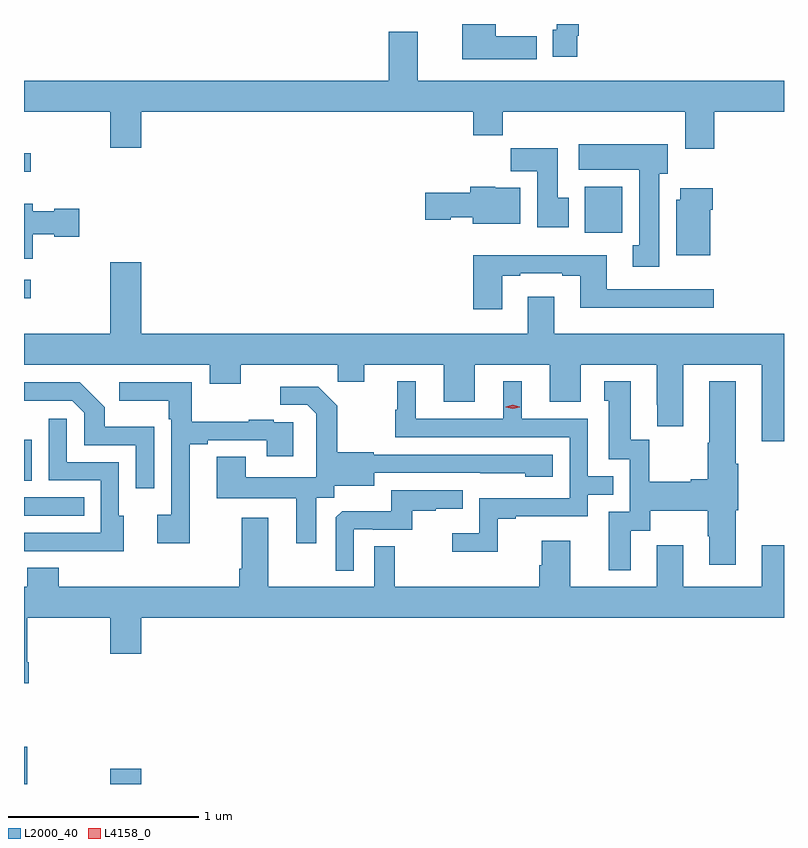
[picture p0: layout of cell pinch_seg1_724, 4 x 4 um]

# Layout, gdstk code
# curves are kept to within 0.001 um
import gdstk
lib = gdstk.Library(unit=1e-6, precision=1e-09)
def R(c, l, rs):  # rectangles x0, y0, x1, y1
    for r in rs: c.add(gdstk.rectangle(r[:2], r[2:], *l))
def P(c, l, *ps):  # polygons
    for p in ps: c.add(gdstk.Polygon(p, *l))
L2000_40 = (2000, 40)
L4158_0 = (4158, 0)

pinch_seg1_724 = lib.new_cell('pinch_seg1_724')
R(pinch_seg1_724, L2000_40, [(644.075,517.558,644.092,517.753), (644.528,517.558,644.692,517.639), (644.075,518.97,644.393,519.066), (644.075,519.155,644.116,519.37), (644.075,520.115,644.11,520.212), (647.027,520.46,647.224,520.702), (644.075,520.781,644.11,520.878)])
P(pinch_seg1_724, L2000_40, [(646.774,521.494),(646.558,521.494),(646.558,521.558),(646.382,521.558),(646.382,521.372),(646.774,521.372)],
  [(646.987,521.497),(646.994,521.497),(646.994,521.558),(646.878,521.558),(646.878,521.529),(646.859,521.529),(646.859,521.385),(646.987,521.385)],
  [(646.147,521.518),(645.995,521.518),(645.995,521.26),(644.075,521.26),(644.075,521.096),(644.528,521.096),(644.528,520.908),(644.692,520.908),(644.692,521.096),(646.439,521.096),(646.439,520.972),(646.595,520.972),(646.595,521.096),(647.555,521.096),(647.555,520.902),(647.708,520.902),(647.708,521.096),(648.075,521.096),(648.075,521.26),(646.147,521.26)],
  [(647.419,520.77),(647.464,520.77),(647.464,520.924),(646.995,520.924),(646.995,520.79),(647.312,520.79),(647.312,520.394),(647.279,520.394),(647.279,520.281),(647.419,520.281)],
  [(646.942,520.644),(646.885,520.644),(646.885,520.903),(646.636,520.903),(646.636,520.784),(646.775,520.784),(646.775,520.488),(646.942,520.488)],
  [(646.687,520.696),(646.554,520.696),(646.554,520.702),(646.424,520.702),(646.424,520.671),(646.188,520.671),(646.188,520.529),(646.32,520.529),(646.32,520.541),(646.436,520.541),(646.436,520.508),(646.687,520.508)],
  [(647.686,520.58),(647.699,520.58),(647.699,520.693),(647.528,520.693),(647.528,520.632),(647.507,520.632),(647.507,520.34),(647.686,520.34)],
  [(644.122,520.451),(644.235,520.451),(644.235,520.439),(644.365,520.439),(644.365,520.586),(644.235,520.586),(644.235,520.573),(644.122,520.573),(644.122,520.612),(644.075,520.612),(644.075,520.322),(644.122,520.322)],
  [(646.591,520.233),(646.687,520.233),(646.687,520.245),(646.907,520.245),(646.907,520.233),(647.003,520.233),(647.003,520.064),(647.704,520.064),(647.704,520.161),(647.143,520.161),(647.143,520.342),(646.439,520.342),(646.439,520.056),(646.591,520.056)],
  [(648.075,519.928),(646.867,519.928),(646.867,520.123),(646.727,520.123),(646.727,519.928),(644.692,519.928),(644.692,520.303),(644.528,520.303),(644.528,519.928),(644.075,519.928),(644.075,519.764),(645.053,519.764),(645.053,519.665),(645.217,519.665),(645.217,519.764),(645.727,519.764),(645.727,519.674),(645.865,519.674),(645.865,519.764),(646.283,519.764),(646.283,519.57),(646.447,519.57),(646.447,519.764),(646.841,519.764),(646.841,519.57),(647.005,519.57),(647.005,519.764),(647.405,519.764),(647.405,519.553),(647.408,519.553),(647.408,519.441),(647.545,519.441),(647.545,519.764),(647.957,519.764),(647.957,519.363),(648.075,519.363)],
  [(647.269,518.89),(647.371,518.89),(647.371,518.996),(647.674,518.996),(647.674,518.862),(647.681,518.862),(647.681,518.712),(647.821,518.712),(647.821,519),(647.834,519),(647.834,519.244),(647.821,519.244),(647.821,519.679),(647.681,519.679),(647.681,519.353),(647.674,519.353),(647.674,519.161),(647.585,519.161),(647.585,519.148),(647.367,519.148),(647.367,519.371),(647.269,519.371),(647.269,519.679),(647.129,519.679),(647.129,519.576),(647.153,519.576),(647.153,519.267),(647.262,519.267),(647.262,518.991),(647.153,518.991),(647.153,518.682),(647.269,518.682)],
  [(646.569,518.955),(646.663,518.955),(646.663,518.967),(647.043,518.967),(647.043,519.081),(647.177,519.081),(647.177,519.177),(647.043,519.177),(647.043,519.48),(646.696,519.48),(646.696,519.679),(646.598,519.679),(646.598,519.48),(646.138,519.48),(646.138,519.679),(646.04,519.679),(646.04,519.528),(646.029,519.528),(646.029,519.384),(646.947,519.384),(646.947,519.063),(646.47,519.063),(646.47,518.878),(646.329,518.878),(646.329,518.78),(646.569,518.78)],
  [(644.76,519.439),(644.499,519.439),(644.499,519.542),(644.368,519.672),(644.075,519.672),(644.075,519.575),(644.328,519.576),(644.391,519.513),(644.391,519.342),(644.664,519.342),(644.664,519.114),(644.76,519.114)],
  [(644.947,519.347),(645.043,519.347),(645.043,519.366),(645.353,519.366),(645.353,519.282),(645.493,519.282),(645.493,519.462),(645.389,519.462),(645.389,519.475),(645.257,519.475),(645.257,519.464),(644.959,519.464),(644.959,519.672),(644.577,519.672),(644.577,519.575),(644.838,519.575),(644.838,519.479),(644.85,519.479),(644.85,518.974),(644.775,518.974),(644.775,518.826),(644.947,518.826)],
  [(645.613,519.064),(645.708,519.064),(645.708,519.128),(645.919,519.128),(645.919,519.195),(646.713,519.194),(646.713,519.176),(646.858,519.176),(646.858,519.291),(645.915,519.291),(645.915,519.304),(645.723,519.304),(645.723,519.549),(645.623,519.649),(645.423,519.649),(645.423,519.555),(645.567,519.555),(645.614,519.508),(645.614,519.413),(645.612,519.413),(645.612,519.172),(645.241,519.172),(645.241,519.281),(645.089,519.281),(645.089,519.062),(645.509,519.062),(645.509,518.826),(645.613,518.826)],
  [(644.599,518.97),(644.574,518.97),(644.574,519.252),(644.301,519.252),(644.301,519.481),(644.205,519.481),(644.205,519.156),(644.478,519.156),(644.478,518.88),(644.075,518.88),(644.075,518.784),(644.381,518.784),(644.381,518.783),(644.599,518.783)],
  [(645.81,518.898),(645.91,518.898),(645.91,518.895),(646.118,518.895),(646.118,518.996),(646.241,518.996),(646.241,519.008),(646.385,519.008),(646.385,519.105),(646.008,519.105),(646.008,518.993),(645.749,518.993),(645.717,518.961),(645.717,518.681),(645.81,518.681)],
  [(644.099,518.2),(644.092,518.2),(644.092,518.432),(644.528,518.432),(644.528,518.244),(644.692,518.244),(644.692,518.432),(648.075,518.432),(648.075,518.815),(647.957,518.815),(647.957,518.596),(647.545,518.596),(647.545,518.815),(647.405,518.815),(647.405,518.596),(646.951,518.596),(646.951,518.839),(646.799,518.839),(646.799,518.709),(646.787,518.709),(646.787,518.596),(646.027,518.596),(646.027,518.81),(645.918,518.81),(645.918,518.596),(645.361,518.596),(645.361,518.959),(645.221,518.959),(645.221,518.692),(645.209,518.692),(645.209,518.596),(644.257,518.596),(644.257,518.695),(644.093,518.695),(644.093,518.596),(644.075,518.596),(644.075,518.088),(644.099,518.088)])
P(pinch_seg1_724, L4158_0, [(646.647,519.533),(646.611,519.542),(646.611,519.543),(646.611,519.543),(646.647,519.553),(646.683,519.543),(646.683,519.543),(646.683,519.542)])

lib.write_gds('pinch_seg1_724.gds')
